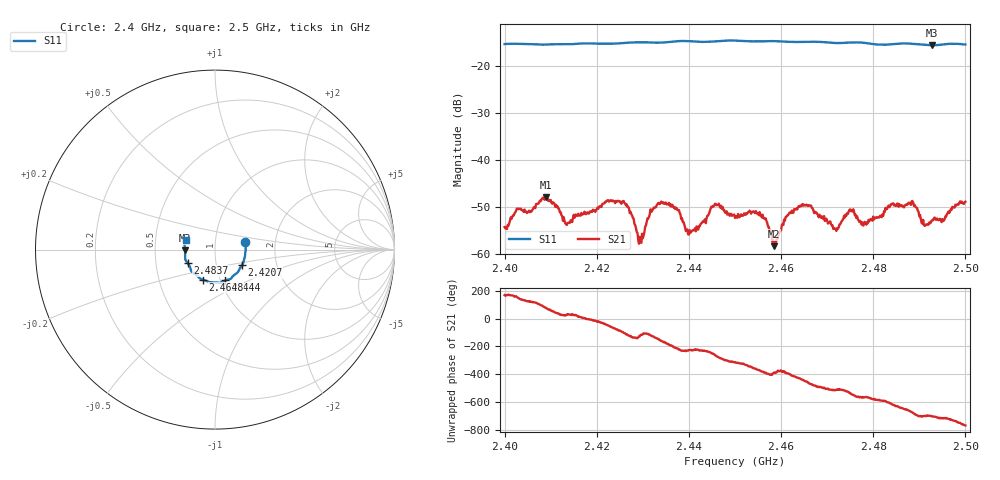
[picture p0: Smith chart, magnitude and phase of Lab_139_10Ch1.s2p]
# Hz S RI R 50
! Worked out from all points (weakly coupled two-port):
!   601 points, 2.4 GHz to 2.5 GHz, reference 50 ohm
!   highest |S21| = -48.02 dB at 2.409 GHz (marker M1); lowest = -58.4 dB at 2.4585 GHz (marker M2)
!   lowest |S11| = -15.6 dB at 2.4928 GHz (marker M3), VSWR 1.40, Z = 35.7 - j0.302 ohm
!   |S11| at or under -10 dB: start of sweep to end of sweep
!   S12 and S22 are empty: the file has one direction only
!   S11 on the Smith chart (normalised r, x): 2.4 GHz: 1.39, +0.12; 2.4207 GHz: 1.33, -0.24; 2.444 GHz: 1.05, -0.37; 2.4648 GHz: 0.83, -0.29; 2.4837 GHz: 0.73, -0.11; 2.5 GHz: 0.72, +0.08
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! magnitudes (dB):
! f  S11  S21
! 2.4 GHz  -15.3  -54.3
! 2.409 GHz  -15.4  -48.0
! 2.4135 GHz  -15.3  -53.9
! 2.4167 GHz  -15.2  -51.3
! 2.4207 GHz  -15.2  -49.9
! 2.426 GHz  -15.1  -49.2
! 2.4295 GHz  -14.9  -57.3
! 2.4333 GHz  -15.0  -49.2
! 2.4373 GHz  -14.7  -50.3
! 2.4398 GHz  -14.7  -55.9
! 2.444 GHz  -14.9  -51.9
! 2.45 GHz  -14.6  -52.4
! 2.4555 GHz  -14.7  -51.9
! 2.4585 GHz  -14.7  -58.4
! 2.4648 GHz  -14.9  -49.8
! 2.4667 GHz  -14.8  -50.2
! 2.4718 GHz  -15.1  -54.7
! 2.4752 GHz  -15.0  -50.9
! 2.4833 GHz  -15.4  -49.8
! 2.4837 GHz  -15.4  -49.8
! 2.4928 GHz  -15.6  -52.9
! 2.5 GHz  -15.4  -48.9
